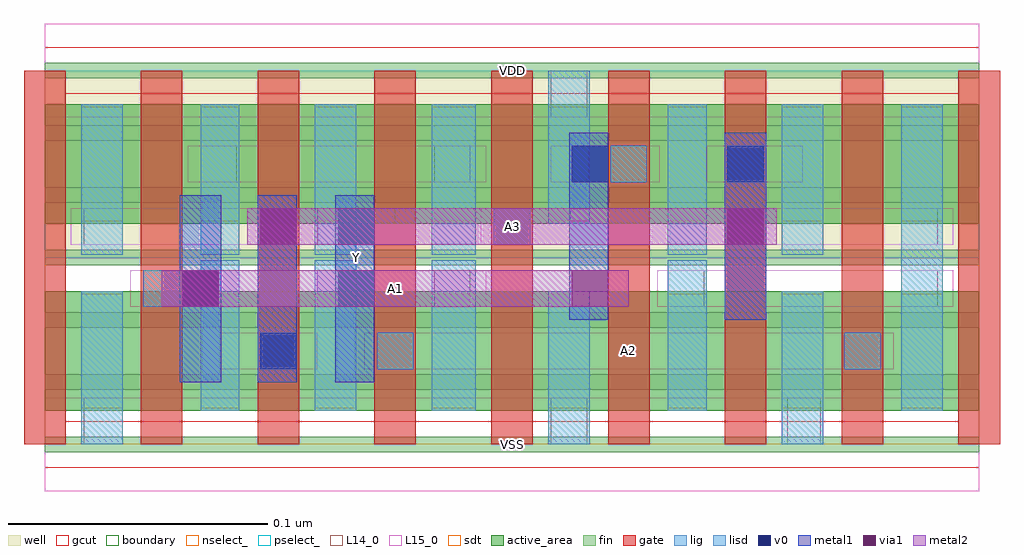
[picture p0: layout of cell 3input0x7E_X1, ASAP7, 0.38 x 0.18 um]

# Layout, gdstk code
import gdstk
lib = gdstk.Library(unit=1e-6, precision=1e-09)
def R(c, l, rs):  # rectangles x0, y0, x1, y1
    for r in rs: c.add(gdstk.rectangle(r[:2], r[2:], *l))
def A(c, l, x, y, w, h, nx, ny, dx, dy):  # array of equal rectangles
    R(c, l, [(x+i*dx, y+j*dy, x+i*dx+w, y+j*dy+h) for i in range(nx) for j in range(ny)])
def P(c, l, *ps):  # polygons
    for p in ps: c.add(gdstk.Polygon(p, *l))
well = (1, 0)
fin = (2, 0)
gate = (7, 0)
gcut = (10, 0)
active_area = (11, 0)
nselect_ = (12, 0)
pselect_ = (13, 0)
L14_0 = (14, 0)
L15_0 = (15, 0)
lig = (16, 0)
lisd = (17, 0)
v0 = (18, 0)
metal1 = (19, 0)
metal2 = (20, 0)
via1 = (21, 0)
sdt = (88, 0)
boundary = (100, 0)

c_3input0x7e_x1 = lib.new_cell('3input0x7E_X1')
R(c_3input0x7e_x1, well, [(0,0.072,0.36,0.144)])
A(c_3input0x7e_x1, fin, 0, -0.003, 0.36, 0.006, 1, 7, 0, 0.024)
A(c_3input0x7e_x1, gate, -0.008, 0, 0.016, 0.144, 9, 1, 0.045, 0)
P(c_3input0x7e_x1, gcut, [(0,-0.009),(0,0),(-0.008,0),(-0.008,0.135),(0.008,0.135),(0.008,0.009),(0.352,0.009),(0.352,0.135),(-0.008,0.135),(-0.008,0.144),(0,0.144),(0,0.153),(0.36,0.153),(0.36,0.144),(0.368,0.144),(0.368,0),(0.36,0),(0.36,-0.009)])
R(c_3input0x7e_x1, active_area, [(0,0.013,0.36,0.059), (0,0.085,0.36,0.131)])
R(c_3input0x7e_x1, nselect_, [(0,0,0.36,0.072)])
R(c_3input0x7e_x1, pselect_, [(0,0.072,0.36,0.144)])
A(c_3input0x7e_x1, L14_0, 0.15, 0.053, 0.014, 0.014, 3, 1, 0.09, 0)
R(c_3input0x7e_x1, L14_0, [(0.015,0,0.03,0.018), (0.195,0,0.209,0.018), (0.286,0,0.299,0.018), (0.083,0.029,0.097,0.043), (0.128,0.029,0.142,0.043), (0.308,0.029,0.322,0.043), (0.038,0.053,0.052,0.067), (0.015,0.077,0.03,0.091), (0.105,0.077,0.12,0.091), (0.173,0.077,0.187,0.091), (0.33,0.077,0.344,0.091), (0.06,0.101,0.074,0.115), (0.15,0.101,0.164,0.115), (0.218,0.101,0.232,0.115), (0.263,0.101,0.277,0.115), (0.195,0.126,0.209,0.144)])
R(c_3input0x7e_x1, L15_0, [(0,-0.018,0.36,0.018), (0.068,0.029,0.105,0.043), (0.123,0.029,0.327,0.043), (0.033,0.053,0.075,0.067), (0.105,0.053,0.17,0.067), (0.236,0.053,0.35,0.067), (0.01,0.077,0.135,0.091), (0.168,0.077,0.35,0.091), (0.055,0.101,0.17,0.115), (0.195,0.101,0.237,0.115), (0.255,0.101,0.292,0.115), (0,0.126,0.36,0.162)])
R(c_3input0x7e_x1, lig, [(0.083,0.029,0.097,0.043), (0.128,0.029,0.142,0.043), (0.308,0.029,0.322,0.043), (0.038,0.053,0.052,0.067), (0.173,0.077,0.187,0.091), (0.218,0.101,0.232,0.115), (0.263,0.101,0.277,0.115)])
R(c_3input0x7e_x1, lisd, [(0.014,0,0.03,0.059), (0.194,0,0.21,0.059), (0.284,0,0.3,0.059), (0.06,0.013,0.075,0.071), (0.104,0.013,0.12,0.071), (0.149,0.013,0.166,0.071), (0.24,0.013,0.255,0.071), (0.33,0.013,0.346,0.131), (0.014,0.073,0.03,0.131), (0.06,0.073,0.075,0.131), (0.104,0.073,0.12,0.131), (0.149,0.073,0.166,0.131), (0.24,0.073,0.255,0.131), (0.284,0.073,0.3,0.131), (0.194,0.085,0.21,0.144)])
R(c_3input0x7e_x1, v0, [(0.083,0.029,0.097,0.043), (0.053,0.053,0.067,0.067), (0.113,0.053,0.127,0.067), (0.113,0.077,0.127,0.091), (0.203,0.101,0.217,0.115), (0.263,0.101,0.277,0.115)])
R(c_3input0x7e_x1, metal1, [(0.052,0.024,0.068,0.096), (0.082,0.024,0.097,0.096), (0.112,0.024,0.127,0.096), (0.202,0.048,0.217,0.12), (0.262,0.048,0.278,0.12)])
R(c_3input0x7e_x1, metal2, [(0.045,0.053,0.225,0.067), (0.078,0.077,0.282,0.091)])
R(c_3input0x7e_x1, via1, [(0.053,0.053,0.067,0.067), (0.203,0.053,0.217,0.067), (0.083,0.077,0.097,0.091), (0.263,0.077,0.277,0.091)])
A(c_3input0x7e_x1, sdt, 0.014, 0.014, 0.016, 0.044, 4, 2, 0.09, 0.072)
R(c_3input0x7e_x1, sdt, [(0.06,0.014,0.075,0.058), (0.149,0.014,0.166,0.058), (0.24,0.014,0.255,0.058), (0.33,0.014,0.346,0.058), (0.06,0.086,0.075,0.13), (0.149,0.086,0.166,0.13), (0.24,0.086,0.255,0.13), (0.33,0.086,0.346,0.13)])
R(c_3input0x7e_x1, boundary, [(0,0,0.36,0.144)])
c_3input0x7e_x1.add(gdstk.Label('VSS', (0.18,0), layer=15, texttype=251))
c_3input0x7e_x1.add(gdstk.Label('VDD', (0.18,0.144), layer=15, texttype=251))
c_3input0x7e_x1.add(gdstk.Label('VSS', (0.18,0), layer=15, texttype=251))
c_3input0x7e_x1.add(gdstk.Label('VDD', (0.18,0.144), layer=15, texttype=251))
c_3input0x7e_x1.add(gdstk.Label('A2', (0.225,0.036), layer=15, texttype=251))
c_3input0x7e_x1.add(gdstk.Label('VSS', (0.18,0), layer=15, texttype=251))
c_3input0x7e_x1.add(gdstk.Label('VDD', (0.18,0.144), layer=15, texttype=251))
c_3input0x7e_x1.add(gdstk.Label('VSS', (0.18,0), layer=15, texttype=251))
c_3input0x7e_x1.add(gdstk.Label('VDD', (0.18,0.144), layer=15, texttype=251))
c_3input0x7e_x1.add(gdstk.Label('A3', (0.18,0.084), layer=20, texttype=251))
c_3input0x7e_x1.add(gdstk.Label('A1', (0.135,0.06), layer=20, texttype=251))
c_3input0x7e_x1.add(gdstk.Label('VSS', (0.18,0), layer=3, texttype=251))
c_3input0x7e_x1.add(gdstk.Label('VSS', (0.18,0), layer=3, texttype=251))
c_3input0x7e_x1.add(gdstk.Label('VSS', (0.18,0), layer=3, texttype=251))
c_3input0x7e_x1.add(gdstk.Label('VSS', (0.18,0), layer=3, texttype=251))
c_3input0x7e_x1.add(gdstk.Label('VDD', (0.18,0.144), layer=1, texttype=251))
c_3input0x7e_x1.add(gdstk.Label('VDD', (0.18,0.144), layer=1, texttype=251))
c_3input0x7e_x1.add(gdstk.Label('VDD', (0.18,0.144), layer=1, texttype=251))
c_3input0x7e_x1.add(gdstk.Label('VDD', (0.18,0.144), layer=1, texttype=251))
c_3input0x7e_x1.add(gdstk.Label('Y', (0.12,0.072), layer=19, texttype=251))

lib.write_gds('3input0x7E_X1.gds')
